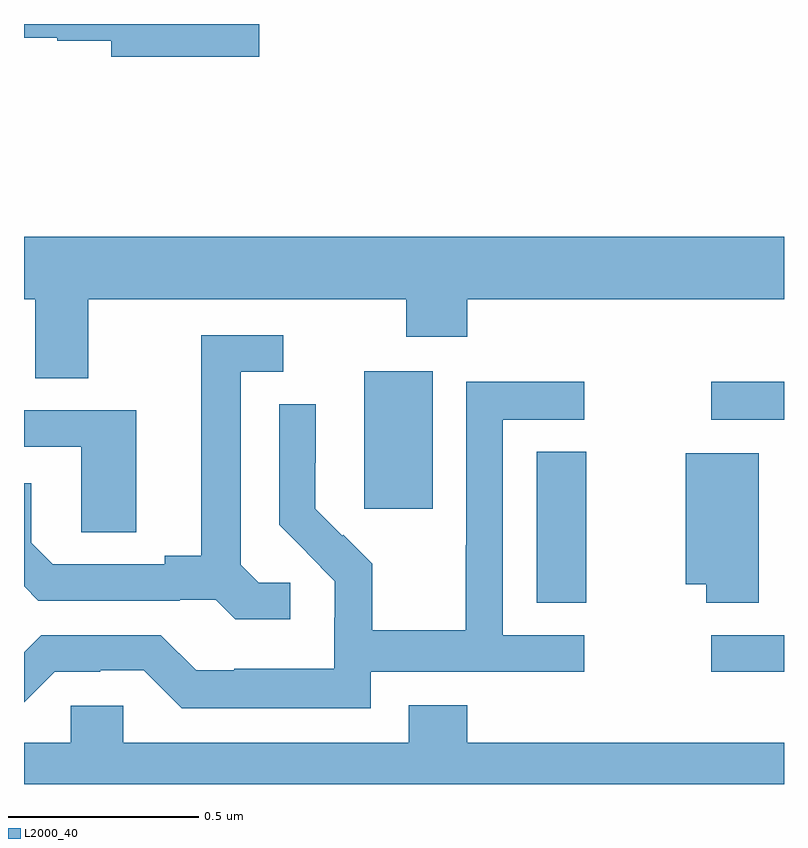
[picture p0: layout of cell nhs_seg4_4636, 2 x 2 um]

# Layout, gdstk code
import gdstk
lib = gdstk.Library(unit=1e-6, precision=1e-09)
def R(c, l, rs):  # rectangles x0, y0, x1, y1
    for r in rs: c.add(gdstk.rectangle(r[:2], r[2:], *l))
def P(c, l, *ps):  # polygons
    for p in ps: c.add(gdstk.Polygon(p, *l))
L2000_40 = (2000, 40)

nhs_seg4_4636 = lib.new_cell('nhs_seg4_4636')
R(nhs_seg4_4636, L2000_40, [(169.809,773.196,170,773.292), (169.349,773.377,169.48,773.774), (168.896,773.625,169.075,773.986), (169.809,773.859,170,773.958)])
P(nhs_seg4_4636, L2000_40, [(168.619,774.9),(168,774.9),(168,774.864),(168.087,774.864),(168.087,774.856),(168.23,774.856),(168.23,774.814),(168.619,774.814)],
  [(168.169,774.176),(169.006,774.176),(169.006,774.077),(169.166,774.077),(169.166,774.176),(170,774.176),(170,774.34),(168,774.34),(168,774.176),(168.029,774.176),(168.029,773.968),(168.169,773.968)],
  [(168.7,773.43),(168.618,773.43),(168.571,773.477),(168.571,773.985),(168.682,773.985),(168.682,774.081),(168.467,774.081),(168.467,773.501),(168.371,773.501),(168.371,773.478),(168.076,773.478),(168.019,773.535),(168.019,773.692),(168,773.692),(168,773.42),(168.038,773.382),(168.41,773.382),(168.41,773.385),(168.504,773.385),(168.556,773.333),(168.7,773.333)],
  [(168.912,773.196),(169.474,773.196),(169.474,773.292),(169.26,773.292),(169.26,773.859),(169.474,773.859),(169.474,773.958),(169.164,773.958),(169.164,773.528),(169.162,773.528),(169.162,773.305),(168.917,773.305),(168.917,773.479),(168.84,773.556),(168.837,773.553),(168.767,773.624),(168.767,773.746),(168.768,773.746),(168.768,773.9),(168.672,773.9),(168.672,773.582),(168.745,773.509),(168.744,773.508),(168.818,773.434),(168.818,773.337),(168.816,773.337),(168.816,773.203),(168.553,773.203),(168.553,773.199),(168.453,773.199),(168.36,773.292),(168.045,773.292),(168,773.247),(168,773.115),(168.081,773.196),(168.2,773.196),(168.2,773.199),(168.315,773.199),(168.415,773.099),(168.912,773.099)],
  [(168.295,773.883),(168,773.883),(168,773.787),(168.15,773.787),(168.15,773.563),(168.295,773.563)],
  [(169.933,773.77),(169.742,773.77),(169.742,773.426),(169.795,773.426),(169.795,773.377),(169.933,773.377)],
  [(170,773.008),(169.166,773.008),(169.166,773.107),(169.013,773.107),(169.013,773.008),(168.261,773.008),(168.261,773.106),(168.123,773.106),(168.123,773.008),(168,773.008),(168,772.9),(170,772.9)])

lib.write_gds('nhs_seg4_4636.gds')
